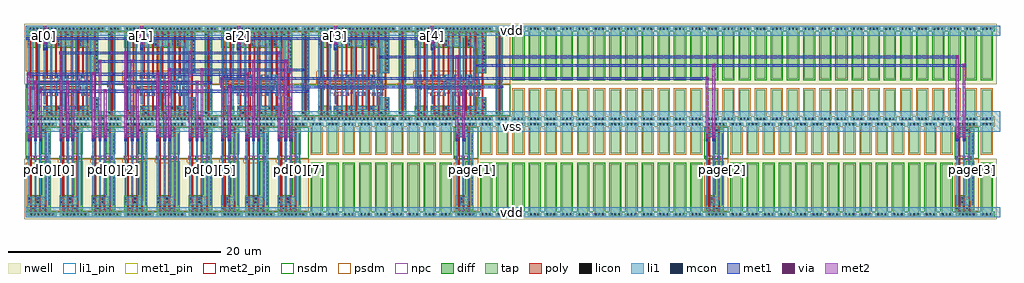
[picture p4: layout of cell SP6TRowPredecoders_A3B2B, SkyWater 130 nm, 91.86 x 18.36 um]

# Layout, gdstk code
import gdstk
lib = gdstk.Library(unit=1e-6, precision=1e-09)
def R(c, l, rs):  # rectangles x0, y0, x1, y1
    for r in rs: c.add(gdstk.rectangle(r[:2], r[2:], *l))
def A(c, l, x, y, w, h, nx, ny, dx, dy):  # array of equal rectangles
    R(c, l, [(x+i*dx, y+j*dy, x+i*dx+w, y+j*dy+h) for i in range(nx) for j in range(ny)])
def P(c, l, *ps):  # polygons
    for p in ps: c.add(gdstk.Polygon(p, *l))
nwell = (64, 20)
diff = (65, 20)
tap = (65, 44)
poly = (66, 20)
licon = (66, 44)
li1_pin = (67, 16)
li1 = (67, 20)
mcon = (67, 44)
met1_pin = (68, 16)
met1 = (68, 20)
via = (68, 44)
met2_pin = (69, 16)
met2 = (69, 20)
nsdm = (93, 44)
psdm = (94, 20)
npc = (95, 20)

dec_tie_diff_w2 = lib.new_cell('Dec_tie_diff_w2')
R(dec_tie_diff_w2, nwell, [(-0.18,3.5,1.7,9.18)])
P(dec_tie_diff_w2, tap, [(0.135,0.135),(0.135,0.385),(0.315,0.385),(0.315,2.995),(1.205,2.995),(1.205,0.385),(1.385,0.385),(1.385,0.135)],
  [(0.315,4.005),(0.315,8.615),(0.135,8.615),(0.135,8.865),(1.385,8.865),(1.385,8.615),(1.205,8.615),(1.205,4.005)])
A(dec_tie_diff_w2, licon, 0.335, 0.175, 0.17, 0.17, 3, 2, 0.34, 8.48)
R(dec_tie_diff_w2, li1_pin, [(0,0,1.52,0.95), (0,8.05,1.52,9)])
R(dec_tie_diff_w2, li1, [(0,0,1.52,0.95), (0,8.05,1.52,9)])
P(dec_tie_diff_w2, nsdm, [(0.19,3.88),(0.19,8.49),(0,8.49),(0,9),(1.52,9),(1.52,8.49),(1.33,8.49),(1.33,3.88)])
P(dec_tie_diff_w2, psdm, [(0,0),(0,0.51),(0.19,0.51),(0.19,3.12),(1.33,3.12),(1.33,0.51),(1.52,0.51),(1.52,0)])
dec_tie_diff_w2.add(gdstk.Label('vss', (0.76,0.475), layer=67, texttype=16))
dec_tie_diff_w2.add(gdstk.Label('vdd', (0.76,8.525), layer=67, texttype=16))

dec_and3_x1 = lib.new_cell('Dec_and3_x1')
R(dec_and3_x1, nwell, [(-0.18,3.5,3.22,9.18)])
P(dec_and3_x1, diff, [(1.485,3.74),(1.485,6.94),(0.135,6.94),(0.135,8.34),(2.32,8.34),(2.32,3.74)],
  [(0.135,0.66),(0.135,1.5),(1.485,1.5),(1.485,3.1),(2.32,3.1),(2.32,0.66)])
R(dec_and3_x1, tap, [(0.135,0.135,2.905,0.385), (0.135,8.615,2.905,8.865)])
P(dec_and3_x1, poly, [(1.26,0.53),(1.26,3.255),(1.24,3.255),(1.24,3.585),(1.26,3.585),(1.26,8.47),(1.41,8.47),(1.41,3.585),(1.51,3.585),(1.51,3.255),(1.41,3.255),(1.41,0.53)],
  [(1.75,0.53),(1.75,3.255),(1.72,3.255),(1.72,3.585),(1.75,3.585),(1.75,8.47),(1.9,8.47),(1.9,3.585),(1.99,3.585),(1.99,3.255),(1.9,3.255),(1.9,0.53)],
  [(0.83,0.53),(0.83,3.255),(0.76,3.255),(0.76,3.585),(0.83,3.585),(0.83,8.47),(0.98,8.47),(0.98,3.585),(1.03,3.585),(1.03,3.255),(0.98,3.255),(0.98,0.53)],
  [(0.4,0.53),(0.4,3.255),(0.125,3.255),(0.125,3.585),(0.4,3.585),(0.4,8.47),(0.55,8.47),(0.55,0.53)])
A(dec_and3_x1, licon, 0.415, 0.175, 0.17, 0.17, 7, 2, 0.34, 8.48)
A(dec_and3_x1, licon, 2.11, 1.325, 0.17, 0.17, 1, 5, 0, 0.34)
A(dec_and3_x1, licon, 0.81, 3.335, 0.17, 0.17, 3, 1, 0.48, 0)
A(dec_and3_x1, licon, 2.11, 3.875, 0.17, 0.17, 1, 12, 0, 0.34)
R(dec_and3_x1, licon, [(1.525,0.78,1.695,0.95), (0.175,1.205,0.345,1.375), (0.175,3.335,0.345,3.505), (0.175,7.175,0.345,7.345), (1.035,7.175,1.205,7.345), (0.175,7.515,0.345,7.685), (1.035,7.515,1.205,7.685), (0.605,8.05,0.775,8.22), (1.525,8.05,1.695,8.22)])
R(dec_and3_x1, li1_pin, [(0,0,3.04,0.95), (2.11,1.12,2.28,7.88), (0.175,1.625,0.345,6.925), (0.81,1.625,0.98,6.925), (1.29,1.625,1.46,6.925), (0,8.05,3.04,9)])
R(dec_and3_x1, li1, [(0,0,3.04,0.95), (2.11,1.12,2.28,7.88), (0.175,1.625,0.345,6.925), (0.81,1.625,0.98,6.925), (1.29,1.625,1.46,6.925), (0,8.05,3.04,9)])
P(dec_and3_x1, li1, [(0.175,1.12),(0.175,1.455),(1.77,1.455),(1.77,7.095),(0.175,7.095),(0.175,7.88),(1.855,7.88),(1.855,7.425),(1.94,7.425),(1.94,1.125),(1.855,1.125),(1.855,1.12)])
R(dec_and3_x1, nsdm, [(0,0.535,3.04,3.5), (0,8.49,3.04,9)])
R(dec_and3_x1, psdm, [(0,0,3.04,0.51)])
P(dec_and3_x1, psdm, [(2.34,3.5),(2.34,3.615),(1.36,3.615),(1.36,3.905),(0,3.905),(0,8.465),(3.04,8.465),(3.04,3.5)])
R(dec_and3_x1, npc, [(0.075,3.235,2.04,3.605)])
dec_and3_x1.add(gdstk.Label('q', (2.195,4.5), layer=67, texttype=16))
dec_and3_x1.add(gdstk.Label('i2', (1.375,4.275), layer=67, texttype=16))
dec_and3_x1.add(gdstk.Label('i1', (0.895,4.275), layer=67, texttype=16))
dec_and3_x1.add(gdstk.Label('i0', (0.26,4.275), layer=67, texttype=16))
dec_and3_x1.add(gdstk.Label('vss', (1.52,0.475), layer=67, texttype=16))
dec_and3_x1.add(gdstk.Label('vdd', (1.52,8.525), layer=67, texttype=16))

dec_inv_x1 = lib.new_cell('Dec_inv_x1')
R(dec_inv_x1, nwell, [(-0.18,3.5,1.7,9.18)])
R(dec_inv_x1, diff, [(0.135,0.66,0.815,3.1), (0.135,3.74,0.815,8.34)])
R(dec_inv_x1, tap, [(0.135,0.135,1.385,0.385), (0.135,8.615,1.385,8.865)])
P(dec_inv_x1, poly, [(0.4,0.53),(0.4,3.255),(0.125,3.255),(0.125,3.585),(0.4,3.585),(0.4,8.47),(0.55,8.47),(0.55,0.53)])
A(dec_inv_x1, licon, 0.335, 0.175, 0.17, 0.17, 3, 2, 0.34, 8.48)
A(dec_inv_x1, licon, 0.605, 1.325, 0.17, 0.17, 1, 5, 0, 0.34)
A(dec_inv_x1, licon, 0.605, 3.875, 0.17, 0.17, 1, 12, 0, 0.34)
R(dec_inv_x1, licon, [(0.175,0.78,0.345,0.95), (0.175,3.335,0.345,3.505), (0.175,8.05,0.345,8.22)])
R(dec_inv_x1, li1_pin, [(0,0,1.52,0.95), (0.175,1.12,0.345,7.88), (0.605,1.12,0.775,7.88), (0,8.05,1.52,9)])
R(dec_inv_x1, li1, [(0,0,1.52,0.95), (0.175,1.12,0.345,7.88), (0.605,1.12,0.775,7.88), (0,8.05,1.52,9)])
R(dec_inv_x1, nsdm, [(0,0.535,1.52,3.5), (0,8.49,1.52,9)])
R(dec_inv_x1, psdm, [(0,0,1.52,0.51)])
P(dec_inv_x1, psdm, [(0.745,3.5),(0.745,3.615),(0,3.615),(0,8.465),(1.52,8.465),(1.52,3.5)])
R(dec_inv_x1, npc, [(0.075,3.235,0.445,3.605)])
dec_inv_x1.add(gdstk.Label('i', (0.26,4.5), layer=67, texttype=16))
dec_inv_x1.add(gdstk.Label('nq', (0.69,4.5), layer=67, texttype=16))
dec_inv_x1.add(gdstk.Label('vdd', (0.76,8.525), layer=67, texttype=16))
dec_inv_x1.add(gdstk.Label('vss', (0.76,0.475), layer=67, texttype=16))

dec_and2_x1 = lib.new_cell('Dec_and2_x1')
R(dec_and2_x1, nwell, [(-0.18,3.5,2.46,9.18)])
P(dec_and2_x1, diff, [(1.055,3.74),(1.055,6.94),(0.135,6.94),(0.135,8.34),(1.84,8.34),(1.84,3.74)],
  [(0.135,0.66),(0.135,1.5),(1.055,1.5),(1.055,3.1),(1.84,3.1),(1.84,0.66)])
R(dec_and2_x1, tap, [(0.135,0.135,2.145,0.385), (0.135,8.615,2.145,8.865)])
P(dec_and2_x1, poly, [(1.32,0.53),(1.32,3.255),(1.24,3.255),(1.24,3.585),(1.32,3.585),(1.32,8.47),(1.47,8.47),(1.47,3.585),(1.51,3.585),(1.51,3.255),(1.47,3.255),(1.47,0.53)],
  [(0.83,0.53),(0.83,3.255),(0.76,3.255),(0.76,3.585),(0.83,3.585),(0.83,8.47),(0.98,8.47),(0.98,3.585),(1.03,3.585),(1.03,3.255),(0.98,3.255),(0.98,0.53)],
  [(0.4,0.53),(0.4,3.255),(0.125,3.255),(0.125,3.585),(0.4,3.585),(0.4,8.47),(0.55,8.47),(0.55,0.53)])
A(dec_and2_x1, licon, 0.375, 0.175, 0.17, 0.17, 5, 2, 0.34, 8.48)
A(dec_and2_x1, licon, 1.63, 1.325, 0.17, 0.17, 1, 5, 0, 0.34)
A(dec_and2_x1, licon, 1.63, 3.875, 0.17, 0.17, 1, 12, 0, 0.34)
R(dec_and2_x1, licon, [(1.095,0.78,1.265,0.95), (0.175,1.205,0.345,1.375), (0.175,3.335,0.345,3.505), (0.81,3.335,0.98,3.505), (1.29,3.335,1.46,3.505), (0.605,7.175,0.775,7.345), (0.605,7.515,0.775,7.685), (0.175,8.05,0.345,8.22), (1.095,8.05,1.265,8.22)])
R(dec_and2_x1, li1_pin, [(0,0,2.28,0.95), (1.63,1.12,1.8,7.88), (0.175,1.625,0.345,7.88), (0.81,1.625,0.98,6.925), (0,8.05,2.28,9)])
R(dec_and2_x1, li1, [(0,0,2.28,0.95), (1.63,1.12,1.8,7.88), (0.175,1.625,0.345,7.88), (0.81,1.625,0.98,6.925), (0,8.05,2.28,9)])
P(dec_and2_x1, li1, [(0.175,1.12),(0.175,1.455),(1.29,1.455),(1.29,7.095),(0.605,7.095),(0.605,7.88),(1.375,7.88),(1.375,7.425),(1.46,7.425),(1.46,1.125),(1.375,1.125),(1.375,1.12)])
R(dec_and2_x1, nsdm, [(0,0.535,2.28,3.5), (0,8.49,2.28,9)])
R(dec_and2_x1, psdm, [(0,0,2.28,0.51)])
P(dec_and2_x1, psdm, [(1.86,3.5),(1.86,3.615),(0.93,3.615),(0.93,3.905),(0,3.905),(0,8.465),(2.28,8.465),(2.28,3.5)])
R(dec_and2_x1, npc, [(0.075,3.235,1.56,3.605)])
dec_and2_x1.add(gdstk.Label('q', (1.715,4.5), layer=67, texttype=16))
dec_and2_x1.add(gdstk.Label('i1', (0.895,4.275), layer=67, texttype=16))
dec_and2_x1.add(gdstk.Label('i0', (0.26,4.753), layer=67, texttype=16))
dec_and2_x1.add(gdstk.Label('vss', (1.14,0.475), layer=67, texttype=16))
dec_and2_x1.add(gdstk.Label('vdd', (1.14,8.525), layer=67, texttype=16))

dec_dff_x1 = lib.new_cell('Dec_dff_x1')
R(dec_dff_x1, nwell, [(-0.18,3.5,7.78,9.18)])
R(dec_dff_x1, diff, [(0.135,0.66,1.36,1.5), (0.135,6.94,1.36,8.34)])
P(dec_dff_x1, diff, [(5.96,4.55),(5.96,6.94),(1.63,6.94),(1.63,8.34),(6.83,8.34),(6.83,4.55)],
  [(1.63,0.66),(1.63,1.5),(5.96,1.5),(5.96,2.29),(6.83,2.29),(6.83,0.66)])
R(dec_dff_x1, tap, [(0.135,0.135,7.465,0.385), (0.135,8.615,7.465,8.865)])
P(dec_dff_x1, poly, [(6.415,0.53),(6.415,2.985),(5.595,2.985),(5.595,3.315),(6.415,3.315),(6.415,8.47),(6.565,8.47),(6.565,0.53)],
  [(5.735,3.525),(5.735,8.47),(5.885,8.47),(5.885,3.855),(6.205,3.855),(6.205,3.525)],
  [(3.645,4.065),(3.645,8.47),(3.795,8.47),(3.795,4.395),(4.025,4.395),(4.025,4.065)],
  [(1.895,0.53),(1.895,2.445),(1.645,2.445),(1.645,2.775),(2.045,2.775),(2.045,0.53)],
  [(2.255,4.065),(2.255,4.395),(2.325,4.395),(2.325,8.47),(2.475,8.47),(2.475,4.395),(2.525,4.395),(2.525,4.065)],
  [(5.21,4.065),(5.21,4.395),(5.28,4.395),(5.28,8.47),(5.43,8.47),(5.43,4.395),(5.48,4.395),(5.48,4.065)],
  [(2.755,0.53),(2.755,2.445),(2.735,2.445),(2.735,2.775),(3.005,2.775),(3.005,2.445),(2.905,2.445),(2.905,0.53)],
  [(2.325,0.53),(2.325,2.445),(2.255,2.445),(2.255,2.775),(2.525,2.775),(2.525,2.445),(2.475,2.445),(2.475,0.53)],
  [(5.28,0.53),(5.28,2.445),(5.255,2.445),(5.255,2.775),(5.525,2.775),(5.525,2.445),(5.43,2.445),(5.43,0.53)],
  [(1.645,4.065),(1.645,4.395),(1.895,4.395),(1.895,8.47),(2.045,8.47),(2.045,4.065)],
  [(3.645,0.53),(3.645,2.775),(4.025,2.775),(4.025,2.445),(3.795,2.445),(3.795,0.53)],
  [(2.735,4.065),(2.735,4.395),(2.755,4.395),(2.755,8.47),(2.905,8.47),(2.905,4.395),(3.005,4.395),(3.005,4.065)],
  [(4.235,0.53),(4.235,2.775),(4.505,2.775),(4.505,2.445),(4.385,2.445),(4.385,0.53)],
  [(5.735,0.53),(5.735,2.775),(6.205,2.775),(6.205,2.445),(5.885,2.445),(5.885,0.53)],
  [(0.945,0.53),(0.945,3.525),(0.125,3.525),(0.125,3.855),(0.945,3.855),(0.945,8.47),(1.095,8.47),(1.095,3.855),(3.215,3.855),(3.215,8.47),(3.365,8.47),(3.365,3.855),(4.85,3.855),(4.85,8.47),(5,8.47),(5,3.855),(5.525,3.855),(5.525,3.525),(1.095,3.525),(1.095,0.53)],
  [(4.235,4.065),(4.235,8.47),(4.385,8.47),(4.385,4.395),(4.505,4.395),(4.505,4.065)],
  [(0.4,4.065),(0.4,8.47),(0.55,8.47),(0.55,4.395),(0.735,4.395),(0.735,4.065)],
  [(0.4,0.53),(0.4,3.315),(0.735,3.315),(0.735,2.985),(0.55,2.985),(0.55,0.53)],
  [(3.215,0.53),(3.215,2.985),(1.305,2.985),(1.305,3.315),(5.185,3.315),(5.185,2.985),(5,2.985),(5,0.53),(4.85,0.53),(4.85,2.985),(3.365,2.985),(3.365,0.53)])
A(dec_dff_x1, licon, 0.315, 0.175, 0.17, 0.17, 21, 2, 0.34, 8.48)
A(dec_dff_x1, licon, 6.62, 1.26, 0.17, 0.17, 1, 3, 0, 0.34)
A(dec_dff_x1, licon, 6.62, 4.79, 0.17, 0.17, 1, 9, 0, 0.34)
R(dec_dff_x1, licon, [(0.605,0.78,0.775,0.95), (2.1,0.78,2.27,0.95), (3.85,0.78,4.02,0.95), (6,0.78,6.17,0.95), (0.175,1.205,0.345,1.375), (1.15,1.205,1.32,1.375), (1.67,1.205,1.84,1.375), (2.96,1.205,3.13,1.375), (4.625,1.205,4.795,1.375), (5.055,1.205,5.225,1.375), (1.695,2.525,1.865,2.695), (2.305,2.525,2.475,2.695), (2.785,2.525,2.955,2.695), (3.805,2.525,3.975,2.695), (4.285,2.525,4.455,2.695), (5.305,2.525,5.475,2.695), (5.985,2.525,6.155,2.695), (0.515,3.065,0.685,3.235), (1.355,3.065,1.525,3.235), (3.125,3.065,3.295,3.235), (4.965,3.065,5.135,3.235), (5.645,3.065,5.815,3.235), (0.175,3.605,0.345,3.775), (2.785,3.605,2.955,3.775), (5.305,3.605,5.475,3.775), (5.985,3.605,6.155,3.775), (0.515,4.145,0.685,4.315), (1.695,4.145,1.865,4.315), (2.305,4.145,2.475,4.315), (2.785,4.145,2.955,4.315), (3.805,4.145,3.975,4.315), (4.285,4.145,4.455,4.315), (5.26,4.145,5.43,4.315), (0.175,7.175,0.345,7.345), (1.15,7.175,1.32,7.345), (1.67,7.175,1.84,7.345), (2.96,7.175,3.13,7.345), (4.625,7.175,4.795,7.345), (5.055,7.175,5.225,7.345), (0.175,7.515,0.345,7.685), (1.15,7.515,1.32,7.685), (1.67,7.515,1.84,7.685), (2.96,7.515,3.13,7.685), (4.625,7.515,4.795,7.685), (5.055,7.515,5.225,7.685), (0.605,8.05,0.775,8.22), (2.1,8.05,2.27,8.22), (3.85,8.05,4.02,8.22), (6,8.05,6.17,8.22)])
R(dec_dff_x1, li1_pin, [(0,0,7.6,0.95), (0.515,1.12,0.685,7.88), (5.985,1.12,6.155,7.88), (1.695,1.625,1.865,6.925), (0,8.05,7.6,9)])
R(dec_dff_x1, li1, [(0,0,7.6,0.95), (0.175,1.12,0.345,7.88), (0.515,1.12,0.685,7.88), (1.695,1.625,1.865,6.925), (2.785,2.445,2.955,3.855), (5.305,2.445,5.475,3.855), (0,8.05,7.6,9)])
P(dec_dff_x1, li1, [(5.985,1.12),(5.985,7.88),(6.79,7.88),(6.79,4.565),(6.155,4.565),(6.155,2.275),(6.79,2.275),(6.79,1.12)],
  [(5.055,1.12),(5.055,1.455),(5.645,1.455),(5.645,7.095),(5.055,7.095),(5.055,7.88),(5.73,7.88),(5.73,7.425),(5.815,7.425),(5.815,1.125),(5.73,1.125),(5.73,1.12)],
  [(3.89,1.12),(3.89,1.125),(3.805,1.125),(3.805,4.395),(3.975,4.395),(3.975,1.455),(4.625,1.455),(4.625,7.88),(4.795,7.88),(4.795,1.12)],
  [(1.15,1.12),(1.15,7.88),(1.32,7.88),(1.32,3.315),(1.525,3.315),(1.525,2.985),(1.32,2.985),(1.32,1.12)],
  [(2.96,1.12),(2.96,1.455),(3.465,1.455),(3.465,7.095),(2.96,7.095),(2.96,7.88),(4.37,7.88),(4.37,7.425),(4.455,7.425),(4.455,2.445),(4.285,2.445),(4.285,7.095),(3.635,7.095),(3.635,1.125),(3.55,1.125),(3.55,1.12)],
  [(4.965,2.985),(4.965,4.395),(5.43,4.395),(5.43,4.065),(5.135,4.065),(5.135,2.985)],
  [(1.67,1.12),(1.67,1.455),(2.305,1.455),(2.305,7.095),(1.67,7.095),(1.67,7.88),(2.39,7.88),(2.39,7.425),(2.475,7.425),(2.475,1.125),(2.39,1.125),(2.39,1.12)],
  [(3.125,2.985),(3.125,4.065),(2.785,4.065),(2.785,4.395),(3.295,4.395),(3.295,2.985)])
R(dec_dff_x1, nsdm, [(0,0.535,7.6,3.5), (0,8.49,7.6,9)])
R(dec_dff_x1, psdm, [(0,0,7.6,0.51)])
P(dec_dff_x1, psdm, [(6.555,3.5),(6.555,4.175),(5.83,4.175),(5.83,4.715),(0,4.715),(0,8.465),(7.6,8.465),(7.6,3.5)])
R(dec_dff_x1, npc, [(3.705,2.425,4.555,2.795), (3.705,4.045,4.555,4.415)])
P(dec_dff_x1, npc, [(5.205,2.425),(5.205,2.66),(4.86,2.66),(4.86,3.64),(5.205,3.64),(5.205,4.045),(5.16,4.045),(5.16,4.415),(5.53,4.415),(5.53,3.875),(5.575,3.875),(5.575,3.64),(5.885,3.64),(5.885,3.875),(6.255,3.875),(6.255,3.64),(6.26,3.64),(6.26,2.66),(6.255,2.66),(6.255,2.425),(5.885,2.425),(5.885,2.66),(5.575,2.66),(5.575,2.425)],
  [(1.595,2.425),(1.595,2.66),(1.25,2.66),(1.25,3.1),(1.255,3.1),(1.255,3.335),(1.625,3.335),(1.625,3.1),(1.97,3.1),(1.97,2.795),(2.68,2.795),(2.68,3.64),(2.685,3.64),(2.685,4.045),(1.595,4.045),(1.595,4.415),(3.055,4.415),(3.055,3.64),(3.4,3.64),(3.4,2.66),(3.055,2.66),(3.055,2.425)],
  [(0.415,2.965),(0.415,3.2),(0.07,3.2),(0.07,4.18),(0.415,4.18),(0.415,4.415),(0.785,4.415),(0.785,4.18),(0.79,4.18),(0.79,3.2),(0.785,3.2),(0.785,2.965)])
dec_dff_x1.add(gdstk.Label('q', (6.07,4.5), layer=67, texttype=16))
dec_dff_x1.add(gdstk.Label('i', (1.78,4.275), layer=67, texttype=16))
dec_dff_x1.add(gdstk.Label('clk', (0.6,4.5), layer=67, texttype=16))
dec_dff_x1.add(gdstk.Label('vss', (3.8,0.475), layer=67, texttype=16))
dec_dff_x1.add(gdstk.Label('vdd', (3.8,8.525), layer=67, texttype=16))

sp6trowpredecoders_a3b2b = lib.new_cell('SP6TRowPredecoders_A3B2B')
A(sp6trowpredecoders_a3b2b, li1_pin, 2.11, 1.12, 0.17, 6.76, 6, 1, 3.04, 0)
A(sp6trowpredecoders_a3b2b, li1_pin, 41.91, 1.12, 0.17, 6.76, 3, 1, 23.56, 0)
R(sp6trowpredecoders_a3b2b, li1_pin, [(0,0,91.68,0.95), (19.87,1.12,20.04,7.88), (22.63,1.12,22.8,7.88), (25.67,1.12,25.84,7.88), (0,8.05,91.68,9.95), (0,17.05,91.68,18)])
A(sp6trowpredecoders_a3b2b, li1, 2.11, 1.12, 0.17, 6.76, 6, 1, 3.04, 0)
A(sp6trowpredecoders_a3b2b, li1, 41.91, 1.12, 0.17, 6.76, 3, 1, 23.56, 0)
A(sp6trowpredecoders_a3b2b, li1, 1.695, 15.755, 0.17, 0.17, 5, 1, 9.12, 0)
A(sp6trowpredecoders_a3b2b, li1, 0.515, 16.71, 0.17, 0.17, 5, 1, 9.12, 0)
R(sp6trowpredecoders_a3b2b, li1, [(0,0,91.68,0.95), (19.87,1.12,20.04,7.88), (22.63,1.12,22.8,7.88), (25.67,1.12,25.84,7.88), (0.175,7.205,0.345,7.375), (0.81,7.205,0.98,7.375), (1.29,7.205,1.46,7.375), (3.215,7.205,3.385,7.375), (3.85,7.205,4.02,7.375), (4.33,7.205,4.5,7.375), (6.255,7.205,6.425,7.375), (6.89,7.205,7.06,7.375), (7.37,7.205,7.54,7.375), (9.295,7.205,9.465,7.375), (9.93,7.205,10.1,7.375), (10.41,7.205,10.58,7.375), (12.335,7.205,12.505,7.375), (12.97,7.205,13.14,7.375), (13.45,7.205,13.62,7.375), (15.375,7.205,15.545,7.375), (16.01,7.205,16.18,7.375), (16.49,7.205,16.66,7.375), (18.415,7.205,18.585,7.375), (19.05,7.205,19.22,7.375), (20.695,7.205,20.865,7.375), (21.33,7.205,21.5,7.375), (21.81,7.205,21.98,7.375), (23.735,7.205,23.905,7.375), (24.37,7.205,24.54,7.375), (24.85,7.205,25.02,7.375), (40.455,7.205,40.625,7.375), (41.09,7.205,41.26,7.375), (64.015,7.205,64.185,7.375), (64.65,7.205,64.82,7.375), (87.575,7.205,87.745,7.375), (88.21,7.205,88.38,7.375), (0,8.05,91.68,9.95), (26.445,11.785,26.615,11.955), (44.685,12.185,44.855,12.355), (17.325,12.585,17.495,12.755), (35.565,12.985,35.735,13.155), (8.205,13.385,8.375,13.555), (24.225,13.785,24.395,13.955), (26.015,13.785,26.185,13.955), (42.465,14.185,42.635,14.355), (44.255,14.185,44.425,14.355), (15.105,14.585,15.275,14.755), (16.895,14.585,17.065,14.755), (33.345,14.985,33.515,15.155), (35.135,14.985,35.305,15.155), (5.985,15.385,6.155,15.555), (7.775,15.385,7.945,15.555), (0,17.05,91.68,18)])
A(sp6trowpredecoders_a3b2b, mcon, 1.695, 15.755, 0.17, 0.17, 5, 1, 9.12, 0)
A(sp6trowpredecoders_a3b2b, mcon, 0.515, 16.71, 0.17, 0.17, 5, 1, 9.12, 0)
R(sp6trowpredecoders_a3b2b, mcon, [(0.175,7.205,0.345,7.375), (0.81,7.205,0.98,7.375), (1.29,7.205,1.46,7.375), (3.215,7.205,3.385,7.375), (3.85,7.205,4.02,7.375), (4.33,7.205,4.5,7.375), (6.255,7.205,6.425,7.375), (6.89,7.205,7.06,7.375), (7.37,7.205,7.54,7.375), (9.295,7.205,9.465,7.375), (9.93,7.205,10.1,7.375), (10.41,7.205,10.58,7.375), (12.335,7.205,12.505,7.375), (12.97,7.205,13.14,7.375), (13.45,7.205,13.62,7.375), (15.375,7.205,15.545,7.375), (16.01,7.205,16.18,7.375), (16.49,7.205,16.66,7.375), (18.415,7.205,18.585,7.375), (19.05,7.205,19.22,7.375), (20.695,7.205,20.865,7.375), (21.33,7.205,21.5,7.375), (21.81,7.205,21.98,7.375), (23.735,7.205,23.905,7.375), (24.37,7.205,24.54,7.375), (24.85,7.205,25.02,7.375), (40.455,7.205,40.625,7.375), (41.09,7.205,41.26,7.375), (64.015,7.205,64.185,7.375), (64.65,7.205,64.82,7.375), (87.575,7.205,87.745,7.375), (88.21,7.205,88.38,7.375), (26.445,11.785,26.615,11.955), (44.685,12.185,44.855,12.355), (17.325,12.585,17.495,12.755), (35.565,12.985,35.735,13.155), (8.205,13.385,8.375,13.555), (24.225,13.785,24.395,13.955), (26.015,13.785,26.185,13.955), (42.465,14.185,42.635,14.355), (44.255,14.185,44.425,14.355), (15.105,14.585,15.275,14.755), (16.895,14.585,17.065,14.755), (33.345,14.985,33.515,15.155), (35.135,14.985,35.305,15.155), (5.985,15.385,6.155,15.555), (7.775,15.385,7.945,15.555)])
R(sp6trowpredecoders_a3b2b, met1_pin, [(0,16.68,37.225,16.91)])
A(sp6trowpredecoders_a3b2b, met1, 1.62, 15.725, 0.32, 0.815, 5, 1, 9.12, 0)
R(sp6trowpredecoders_a3b2b, met1, [(0.13,7.145,0.39,7.755), (0.765,7.145,1.025,7.755), (1.245,7.145,1.505,7.755), (3.17,7.145,3.43,7.755), (3.805,7.145,4.065,7.755), (4.285,7.145,4.545,7.755), (6.21,7.145,6.47,7.755), (6.845,7.145,7.105,7.755), (7.325,7.145,7.585,7.755), (9.25,7.145,9.51,7.755), (9.885,7.145,10.145,7.755), (10.365,7.145,10.625,7.755), (12.29,7.145,12.55,7.755), (12.925,7.145,13.185,7.755), (13.405,7.145,13.665,7.755), (15.33,7.145,15.59,7.755), (15.965,7.145,16.225,7.755), (16.445,7.145,16.705,7.755), (18.37,7.145,18.63,7.755), (19.005,7.145,19.265,7.755), (20.65,7.145,20.91,7.755), (21.285,7.145,21.545,7.755), (21.765,7.145,22.025,7.755), (23.69,7.145,23.95,7.755), (24.325,7.145,24.585,7.755), (24.805,7.145,25.065,7.755), (40.41,7.145,40.67,7.755), (41.045,7.145,41.305,7.755), (63.97,7.145,64.23,7.755), (64.605,7.145,64.865,7.755), (87.53,7.145,87.79,7.755), (88.165,7.145,88.425,7.755), (18.34,12.925,64.26,13.185), (0.1,13.325,20.94,13.585), (6.815,14.525,24.615,14.785), (3.14,15.325,23.98,15.585), (0,16.68,37.225,16.91)])
P(sp6trowpredecoders_a3b2b, met1, [(40.38,14.925),(40.38,14.955),(33.285,14.955),(33.285,15.185),(87.82,15.185),(87.82,14.925),(87.5,14.925),(87.5,14.955),(40.7,14.955),(40.7,14.925)],
  [(13.375,13.725),(13.375,13.985),(26.245,13.985),(26.245,13.755),(26.1,13.755),(26.1,13.725)],
  [(0.735,12.525),(0.735,12.785),(17.555,12.785),(17.555,12.555),(17.41,12.555),(17.41,12.525)],
  [(18.975,12.125),(18.975,12.385),(44.915,12.385),(44.915,12.155),(44.77,12.155),(44.77,12.125)],
  [(64.575,14.125),(64.575,14.155),(42.405,14.155),(42.405,14.385),(88.455,14.385),(88.455,14.125),(88.135,14.125),(88.135,14.155),(64.895,14.155),(64.895,14.125)],
  [(1.215,11.725),(1.215,11.985),(26.675,11.985),(26.675,11.755),(26.53,11.755),(26.53,11.725)])
A(sp6trowpredecoders_a3b2b, via, 1.3, 11.78, 0.15, 0.15, 4, 1, 3.04, 0)
A(sp6trowpredecoders_a3b2b, via, 0.185, 13.38, 0.15, 0.15, 3, 1, 6.08, 0)
A(sp6trowpredecoders_a3b2b, via, 3.225, 15.38, 0.15, 0.15, 3, 1, 6.08, 0)
A(sp6trowpredecoders_a3b2b, via, 1.705, 16.335, 0.15, 0.15, 5, 1, 9.12, 0)
R(sp6trowpredecoders_a3b2b, via, [(0.185,7.52,0.335,7.67), (0.82,7.52,0.97,7.67), (1.3,7.52,1.45,7.67), (3.225,7.52,3.375,7.67), (3.86,7.52,4.01,7.67), (4.34,7.52,4.49,7.67), (6.265,7.52,6.415,7.67), (6.9,7.52,7.05,7.67), (7.38,7.52,7.53,7.67), (9.305,7.52,9.455,7.67), (9.94,7.52,10.09,7.67), (10.42,7.52,10.57,7.67), (12.345,7.52,12.495,7.67), (12.98,7.52,13.13,7.67), (13.46,7.52,13.61,7.67), (15.385,7.52,15.535,7.67), (16.02,7.52,16.17,7.67), (16.5,7.52,16.65,7.67), (18.425,7.52,18.575,7.67), (19.06,7.52,19.21,7.67), (20.705,7.52,20.855,7.67), (21.34,7.52,21.49,7.67), (21.82,7.52,21.97,7.67), (23.745,7.52,23.895,7.67), (24.38,7.52,24.53,7.67), (24.86,7.52,25.01,7.67), (40.465,7.52,40.615,7.67), (41.1,7.52,41.25,7.67), (64.025,7.52,64.175,7.67), (64.66,7.52,64.81,7.67), (87.585,7.52,87.735,7.67), (88.22,7.52,88.37,7.67), (19.06,12.18,19.21,12.33), (41.1,12.18,41.25,12.33), (0.82,12.58,0.97,12.73), (3.86,12.58,4.01,12.73), (12.98,12.58,13.13,12.73), (16.02,12.58,16.17,12.73), (18.425,12.98,18.575,13.13), (64.025,12.98,64.175,13.13), (20.705,13.38,20.855,13.53), (13.46,13.78,13.61,13.93), (16.5,13.78,16.65,13.93), (21.82,13.78,21.97,13.93), (24.86,13.78,25.01,13.93), (64.66,14.18,64.81,14.33), (88.22,14.18,88.37,14.33), (6.9,14.58,7.05,14.73), (9.94,14.58,10.09,14.73), (21.34,14.58,21.49,14.73), (24.38,14.58,24.53,14.73), (40.465,14.98,40.615,15.13), (87.585,14.98,87.735,15.13), (23.745,15.38,23.895,15.53)])
A(sp6trowpredecoders_a3b2b, met2_pin, 1.64, 16.25, 0.28, 1.75, 5, 1, 9.12, 0)
A(sp6trowpredecoders_a3b2b, met2, 0.13, 7.435, 0.26, 6.18, 3, 1, 6.08, 0)
A(sp6trowpredecoders_a3b2b, met2, 1.245, 7.435, 0.26, 4.58, 4, 1, 3.04, 0)
A(sp6trowpredecoders_a3b2b, met2, 3.17, 7.435, 0.26, 8.18, 3, 1, 6.08, 0)
A(sp6trowpredecoders_a3b2b, met2, 1.64, 16.25, 0.28, 1.75, 5, 1, 9.12, 0)
R(sp6trowpredecoders_a3b2b, met2, [(0.765,7.435,1.025,12.815), (3.805,7.435,4.065,12.815), (6.845,7.435,7.105,14.815), (9.885,7.435,10.145,14.815), (12.925,7.435,13.185,12.815), (13.405,7.435,13.665,14.015), (15.965,7.435,16.225,12.815), (16.445,7.435,16.705,14.015), (18.37,7.435,18.63,13.215), (19.005,7.435,19.265,12.415), (20.65,7.435,20.91,13.615), (21.285,7.435,21.545,14.815), (21.765,7.435,22.025,14.015), (23.69,7.435,23.95,15.615), (24.325,7.435,24.585,14.815), (24.805,7.435,25.065,14.015), (40.41,7.435,40.67,15.215), (41.045,7.435,41.305,12.415), (63.97,7.435,64.23,13.215), (64.605,7.435,64.865,14.415), (87.53,7.435,87.79,15.215), (88.165,7.435,88.425,14.415)])
sp6trowpredecoders_a3b2b.add(gdstk.Reference(dec_tie_diff_w2, (26.6,9), x_reflection=True))
sp6trowpredecoders_a3b2b.add(gdstk.Reference(dec_tie_diff_w2, (28.12,9), x_reflection=True))
sp6trowpredecoders_a3b2b.add(gdstk.Reference(dec_tie_diff_w2, (29.64,9), x_reflection=True))
sp6trowpredecoders_a3b2b.add(gdstk.Reference(dec_tie_diff_w2, (31.16,9), x_reflection=True))
sp6trowpredecoders_a3b2b.add(gdstk.Reference(dec_tie_diff_w2, (32.68,9), x_reflection=True))
sp6trowpredecoders_a3b2b.add(gdstk.Reference(dec_tie_diff_w2, (34.2,9), x_reflection=True))
sp6trowpredecoders_a3b2b.add(gdstk.Reference(dec_tie_diff_w2, (35.72,9), x_reflection=True))
sp6trowpredecoders_a3b2b.add(gdstk.Reference(dec_tie_diff_w2, (37.24,9), x_reflection=True))
sp6trowpredecoders_a3b2b.add(gdstk.Reference(dec_tie_diff_w2, (38.76,9), x_reflection=True))
sp6trowpredecoders_a3b2b.add(gdstk.Reference(dec_tie_diff_w2, (42.56,9), x_reflection=True))
sp6trowpredecoders_a3b2b.add(gdstk.Reference(dec_tie_diff_w2, (44.08,9), x_reflection=True))
sp6trowpredecoders_a3b2b.add(gdstk.Reference(dec_tie_diff_w2, (45.6,9), x_reflection=True))
sp6trowpredecoders_a3b2b.add(gdstk.Reference(dec_tie_diff_w2, (47.12,9), x_reflection=True))
sp6trowpredecoders_a3b2b.add(gdstk.Reference(dec_tie_diff_w2, (48.64,9), x_reflection=True))
sp6trowpredecoders_a3b2b.add(gdstk.Reference(dec_tie_diff_w2, (50.16,9), x_reflection=True))
sp6trowpredecoders_a3b2b.add(gdstk.Reference(dec_tie_diff_w2, (51.68,9), x_reflection=True))
sp6trowpredecoders_a3b2b.add(gdstk.Reference(dec_tie_diff_w2, (53.2,9), x_reflection=True))
sp6trowpredecoders_a3b2b.add(gdstk.Reference(dec_tie_diff_w2, (54.72,9), x_reflection=True))
sp6trowpredecoders_a3b2b.add(gdstk.Reference(dec_tie_diff_w2, (56.24,9), x_reflection=True))
sp6trowpredecoders_a3b2b.add(gdstk.Reference(dec_tie_diff_w2, (57.76,9), x_reflection=True))
sp6trowpredecoders_a3b2b.add(gdstk.Reference(dec_tie_diff_w2, (59.28,9), x_reflection=True))
sp6trowpredecoders_a3b2b.add(gdstk.Reference(dec_tie_diff_w2, (60.8,9), x_reflection=True))
sp6trowpredecoders_a3b2b.add(gdstk.Reference(dec_tie_diff_w2, (62.32,9), x_reflection=True))
sp6trowpredecoders_a3b2b.add(gdstk.Reference(dec_tie_diff_w2, (66.12,9), x_reflection=True))
sp6trowpredecoders_a3b2b.add(gdstk.Reference(dec_tie_diff_w2, (67.64,9), x_reflection=True))
sp6trowpredecoders_a3b2b.add(gdstk.Reference(dec_tie_diff_w2, (69.16,9), x_reflection=True))
sp6trowpredecoders_a3b2b.add(gdstk.Reference(dec_tie_diff_w2, (70.68,9), x_reflection=True))
sp6trowpredecoders_a3b2b.add(gdstk.Reference(dec_tie_diff_w2, (72.2,9), x_reflection=True))
sp6trowpredecoders_a3b2b.add(gdstk.Reference(dec_tie_diff_w2, (73.72,9), x_reflection=True))
sp6trowpredecoders_a3b2b.add(gdstk.Reference(dec_tie_diff_w2, (75.24,9), x_reflection=True))
sp6trowpredecoders_a3b2b.add(gdstk.Reference(dec_tie_diff_w2, (76.76,9), x_reflection=True))
sp6trowpredecoders_a3b2b.add(gdstk.Reference(dec_tie_diff_w2, (78.28,9), x_reflection=True))
sp6trowpredecoders_a3b2b.add(gdstk.Reference(dec_tie_diff_w2, (79.8,9), x_reflection=True))
sp6trowpredecoders_a3b2b.add(gdstk.Reference(dec_tie_diff_w2, (81.32,9), x_reflection=True))
sp6trowpredecoders_a3b2b.add(gdstk.Reference(dec_tie_diff_w2, (82.84,9), x_reflection=True))
sp6trowpredecoders_a3b2b.add(gdstk.Reference(dec_tie_diff_w2, (84.36,9), x_reflection=True))
sp6trowpredecoders_a3b2b.add(gdstk.Reference(dec_tie_diff_w2, (85.88,9), x_reflection=True))
sp6trowpredecoders_a3b2b.add(gdstk.Reference(dec_tie_diff_w2, (89.68,9), x_reflection=True))
sp6trowpredecoders_a3b2b.add(gdstk.Reference(dec_and3_x1, (0,9), x_reflection=True))
sp6trowpredecoders_a3b2b.add(gdstk.Reference(dec_and3_x1, (3.04,9), x_reflection=True))
sp6trowpredecoders_a3b2b.add(gdstk.Reference(dec_and3_x1, (6.08,9), x_reflection=True))
sp6trowpredecoders_a3b2b.add(gdstk.Reference(dec_and3_x1, (9.12,9), x_reflection=True))
sp6trowpredecoders_a3b2b.add(gdstk.Reference(dec_and3_x1, (12.16,9), x_reflection=True))
sp6trowpredecoders_a3b2b.add(gdstk.Reference(dec_and3_x1, (15.2,9), x_reflection=True))
sp6trowpredecoders_a3b2b.add(gdstk.Reference(dec_and3_x1, (20.52,9), x_reflection=True))
sp6trowpredecoders_a3b2b.add(gdstk.Reference(dec_and3_x1, (23.56,9), x_reflection=True))
sp6trowpredecoders_a3b2b.add(gdstk.Reference(dec_tie_diff_w2, (45.6,9)))
sp6trowpredecoders_a3b2b.add(gdstk.Reference(dec_tie_diff_w2, (47.12,9)))
sp6trowpredecoders_a3b2b.add(gdstk.Reference(dec_tie_diff_w2, (48.64,9)))
sp6trowpredecoders_a3b2b.add(gdstk.Reference(dec_tie_diff_w2, (50.16,9)))
sp6trowpredecoders_a3b2b.add(gdstk.Reference(dec_tie_diff_w2, (51.68,9)))
sp6trowpredecoders_a3b2b.add(gdstk.Reference(dec_tie_diff_w2, (53.2,9)))
sp6trowpredecoders_a3b2b.add(gdstk.Reference(dec_tie_diff_w2, (54.72,9)))
sp6trowpredecoders_a3b2b.add(gdstk.Reference(dec_tie_diff_w2, (56.24,9)))
sp6trowpredecoders_a3b2b.add(gdstk.Reference(dec_tie_diff_w2, (57.76,9)))
sp6trowpredecoders_a3b2b.add(gdstk.Reference(dec_tie_diff_w2, (59.28,9)))
sp6trowpredecoders_a3b2b.add(gdstk.Reference(dec_tie_diff_w2, (60.8,9)))
sp6trowpredecoders_a3b2b.add(gdstk.Reference(dec_tie_diff_w2, (62.32,9)))
sp6trowpredecoders_a3b2b.add(gdstk.Reference(dec_tie_diff_w2, (63.84,9)))
sp6trowpredecoders_a3b2b.add(gdstk.Reference(dec_tie_diff_w2, (65.36,9)))
sp6trowpredecoders_a3b2b.add(gdstk.Reference(dec_tie_diff_w2, (66.88,9)))
sp6trowpredecoders_a3b2b.add(gdstk.Reference(dec_tie_diff_w2, (68.4,9)))
sp6trowpredecoders_a3b2b.add(gdstk.Reference(dec_tie_diff_w2, (69.92,9)))
sp6trowpredecoders_a3b2b.add(gdstk.Reference(dec_tie_diff_w2, (71.44,9)))
sp6trowpredecoders_a3b2b.add(gdstk.Reference(dec_tie_diff_w2, (72.96,9)))
sp6trowpredecoders_a3b2b.add(gdstk.Reference(dec_tie_diff_w2, (74.48,9)))
sp6trowpredecoders_a3b2b.add(gdstk.Reference(dec_tie_diff_w2, (76,9)))
sp6trowpredecoders_a3b2b.add(gdstk.Reference(dec_tie_diff_w2, (77.52,9)))
sp6trowpredecoders_a3b2b.add(gdstk.Reference(dec_tie_diff_w2, (79.04,9)))
sp6trowpredecoders_a3b2b.add(gdstk.Reference(dec_tie_diff_w2, (80.56,9)))
sp6trowpredecoders_a3b2b.add(gdstk.Reference(dec_tie_diff_w2, (82.08,9)))
sp6trowpredecoders_a3b2b.add(gdstk.Reference(dec_tie_diff_w2, (83.6,9)))
sp6trowpredecoders_a3b2b.add(gdstk.Reference(dec_tie_diff_w2, (85.12,9)))
sp6trowpredecoders_a3b2b.add(gdstk.Reference(dec_tie_diff_w2, (86.64,9)))
sp6trowpredecoders_a3b2b.add(gdstk.Reference(dec_tie_diff_w2, (88.16,9)))
sp6trowpredecoders_a3b2b.add(gdstk.Reference(dec_tie_diff_w2, (89.68,9)))
sp6trowpredecoders_a3b2b.add(gdstk.Reference(dec_inv_x1, (7.6,9)))
sp6trowpredecoders_a3b2b.add(gdstk.Reference(dec_inv_x1, (16.72,9)))
sp6trowpredecoders_a3b2b.add(gdstk.Reference(dec_inv_x1, (25.84,9)))
sp6trowpredecoders_a3b2b.add(gdstk.Reference(dec_inv_x1, (34.96,9)))
sp6trowpredecoders_a3b2b.add(gdstk.Reference(dec_inv_x1, (44.08,9)))
sp6trowpredecoders_a3b2b.add(gdstk.Reference(dec_and2_x1, (18.24,9), x_reflection=True))
sp6trowpredecoders_a3b2b.add(gdstk.Reference(dec_and2_x1, (40.28,9), x_reflection=True))
sp6trowpredecoders_a3b2b.add(gdstk.Reference(dec_and2_x1, (63.84,9), x_reflection=True))
sp6trowpredecoders_a3b2b.add(gdstk.Reference(dec_and2_x1, (87.4,9), x_reflection=True))
sp6trowpredecoders_a3b2b.add(gdstk.Reference(dec_dff_x1, (0,9)))
sp6trowpredecoders_a3b2b.add(gdstk.Reference(dec_dff_x1, (9.12,9)))
sp6trowpredecoders_a3b2b.add(gdstk.Reference(dec_dff_x1, (18.24,9)))
sp6trowpredecoders_a3b2b.add(gdstk.Reference(dec_dff_x1, (27.36,9)))
sp6trowpredecoders_a3b2b.add(gdstk.Reference(dec_dff_x1, (36.48,9)))
sp6trowpredecoders_a3b2b.add(gdstk.Label('a[4]', (38.26,17.125), layer=69, texttype=16))
sp6trowpredecoders_a3b2b.add(gdstk.Label('a[3]', (29.14,17.125), layer=69, texttype=16))
sp6trowpredecoders_a3b2b.add(gdstk.Label('a[2]', (20.02,17.125), layer=69, texttype=16))
sp6trowpredecoders_a3b2b.add(gdstk.Label('a[1]', (10.9,17.125), layer=69, texttype=16))
sp6trowpredecoders_a3b2b.add(gdstk.Label('a[0]', (1.78,17.125), layer=69, texttype=16))
sp6trowpredecoders_a3b2b.add(gdstk.Label('clk', (18.613,16.795), layer=68, texttype=16))
sp6trowpredecoders_a3b2b.add(gdstk.Label('page[3]', (89.115,4.5), layer=67, texttype=16))
sp6trowpredecoders_a3b2b.add(gdstk.Label('vss', (45.84,8.525), layer=67, texttype=16))
sp6trowpredecoders_a3b2b.add(gdstk.Label('vss', (45.84,9.475), layer=67, texttype=16))
sp6trowpredecoders_a3b2b.add(gdstk.Label('page[2]', (65.555,4.5), layer=67, texttype=16))
sp6trowpredecoders_a3b2b.add(gdstk.Label('pd[0][0]', (2.195,4.5), layer=67, texttype=16))
sp6trowpredecoders_a3b2b.add(gdstk.Label('vdd', (45.84,0.475), layer=67, texttype=16))
sp6trowpredecoders_a3b2b.add(gdstk.Label('vdd', (45.84,17.525), layer=67, texttype=16))
sp6trowpredecoders_a3b2b.add(gdstk.Label('pd[0][2]', (8.275,4.5), layer=67, texttype=16))
sp6trowpredecoders_a3b2b.add(gdstk.Label('pd[0][7]', (25.755,4.5), layer=67, texttype=16))
sp6trowpredecoders_a3b2b.add(gdstk.Label('pd[0][3]', (11.315,4.5), layer=67, texttype=16))
sp6trowpredecoders_a3b2b.add(gdstk.Label('pd[0][5]', (17.395,4.5), layer=67, texttype=16))
sp6trowpredecoders_a3b2b.add(gdstk.Label('pd[0][6]', (22.715,4.5), layer=67, texttype=16))
sp6trowpredecoders_a3b2b.add(gdstk.Label('pd[0][1]', (5.235,4.5), layer=67, texttype=16))
sp6trowpredecoders_a3b2b.add(gdstk.Label('page[0]', (19.955,4.5), layer=67, texttype=16))
sp6trowpredecoders_a3b2b.add(gdstk.Label('pd[0][4]', (14.355,4.5), layer=67, texttype=16))
sp6trowpredecoders_a3b2b.add(gdstk.Label('page[1]', (41.995,4.5), layer=67, texttype=16))

lib.write_gds('SP6TRowPredecoders_A3B2B.gds')
